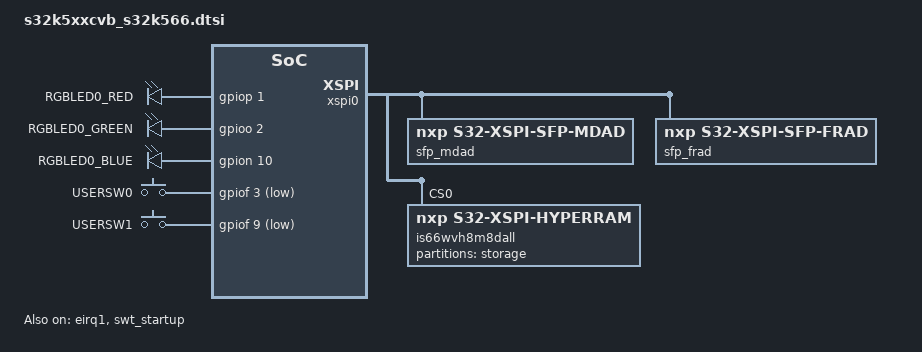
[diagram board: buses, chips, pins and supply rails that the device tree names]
/*
 * Copyright 2025 NXP
 *
 * SPDX-License-Identifier: Apache-2.0
 */

#include <zephyr/dt-bindings/gpio/gpio.h>
#include <zephyr/dt-bindings/input/input-event-codes.h>
#include "s32k5xxcvb_s32k566-pinctrl.dtsi"
#include <zephyr/dt-bindings/xspi/nxp-s32-xspi.h>

/ {
	aliases {
		led0 = &user_led_red;
		led1 = &user_led_green;
		led2 = &user_led_blue;
		sw0 = &user_button_0;
		sw1 = &user_button_1;
		watchdog0 = &swt_startup;
	};

	chosen {
		zephyr,canbus = &flexcan0;
	};

	leds {
		compatible = "gpio-leds";

		user_led_red: user_led_red {
			gpios = <&gpiop 1 GPIO_ACTIVE_HIGH>;
			label = "RGBLED0_RED";
		};

		user_led_green: user_led_green {
			gpios = <&gpioo 2 GPIO_ACTIVE_HIGH>;
			label = "RGBLED0_GREEN";
		};

		user_led_blue: user_led_blue {
			gpios = <&gpion 10 GPIO_ACTIVE_HIGH>;
			label = "RGBLED0_BLUE";
		};
	};

	gpio_keys {
		compatible = "gpio-keys";

		user_button_0: button_0 {
			label = "USERSW0";
			gpios = <&gpiof 3 GPIO_ACTIVE_LOW>;
			zephyr,code = <INPUT_KEY_0>;
		};

		user_button_1: button_1 {
			label = "USERSW1";
			gpios = <&gpiof 9 GPIO_ACTIVE_LOW>;
			zephyr,code = <INPUT_KEY_1>;
		};
	};
};

&gpiof {
	status = "okay";
};

&gpion {
	status = "okay";
};

&gpioo {
	status = "okay";
};

&gpiop {
	status = "okay";
};

&eirq1 {
	pinctrl-0 = <&eirq1_default>;
	pinctrl-names = "default";
	status = "okay";
};

&flexcan0 {
	pinctrl-0 = <&flexcan0_default>;
	pinctrl-names = "default";
};

&swt_startup {
	status = "okay";
};

&xspi0 {
	pinctrl-0 = <&xspi0_default>;
	pinctrl-names = "default";
	data-rate = "DDR";
	column-space = <3>;
	word-addressable;
	cs-hold-time = <6>;
	cs-setup-time = <4>;
	hold-time-2x;
	sample-delay-half-cycle;
	a-dll-ref-counter = <2>;
	a-dll-resolution = <8>;
	a-dll-coarse-delay = <6>;
	a-dll-fine-delay = <7>;
	a-dll-tap-select = <2>;
	a-dll-mode = "BYPASSED";
	a-rx-clock-source = "EXTERNAL_DQS";
	a-io2-idle-high;
	a-io3-idle-high;
	enable-hresp-mask;
	ahb-buffers-masters = <0 1 2 3>;
	ahb-buffers-sizes = <1024 1024 1024 1024>;
	ahb-buffers-all-masters;
	a-differential-clock;
	ahb-timeout = <3>;
	dqs-as-an-output;
	error-payload-high = <0x12345678>;
	error-payload-low = <0x87654321>;
	transaction-timeout = <0xffffffff>;
	arbitration-timeout = <0xffffffff>;
	status = "okay";

	sfp_mdad {
		compatible = "nxp,s32-xspi-sfp-mdad";

		mdad_0: mdad_0 {
			domain-id = <0>;
			secure-attribute = <(NXP_S32_XSPI_NON_SECURE | NXP_S32_XSPI_SECURE)>;
		};
	};

	sfp_frad {
		compatible = "nxp,s32-xspi-sfp-frad";
		#address-cells = <1>;
		#size-cells = <1>;

		frad_0: frad@0 {
			reg = <0x0 0xffffffff>;
			master-domain-acp-policy = <(NXP_S32_XSPI_NON_SECURE |
						    NXP_S32_XSPI_SECURE |
						    NXP_S32_XSPI_PRIVILEGE)>;
		};
	};

	/* HyperRAM IS66WVH8M8DAL */
	is66wvh8m8dall: flash-controller@0 {
		compatible = "nxp,s32-xspi-hyperram";
		reg = <0>;
		jedec-id = [0c 83 0c 83 0c 83 0c 83 0c 83];
		device-id-word-addr = <0x000>;
		size = <DT_SIZE_M(512)>;
		write-block-size = <2>;
		initial-latency-cycles = <7>;
		master-clock-type = "SINGLE_ENDED";
		max-program-buffer-size = <256>;
		drive-strength-ohm = <34>;
		refresh-interval-multiplier = "1";
		status = "okay";

		partitions {
			compatible = "fixed-partitions";
			#address-cells = <1>;
			#size-cells = <1>;

			storage_partition: partition@0 {
				label = "storage";
				reg = <0x00000 0x10000>;
			};
		};
	};
};

&edma {
	status = "okay";
};
